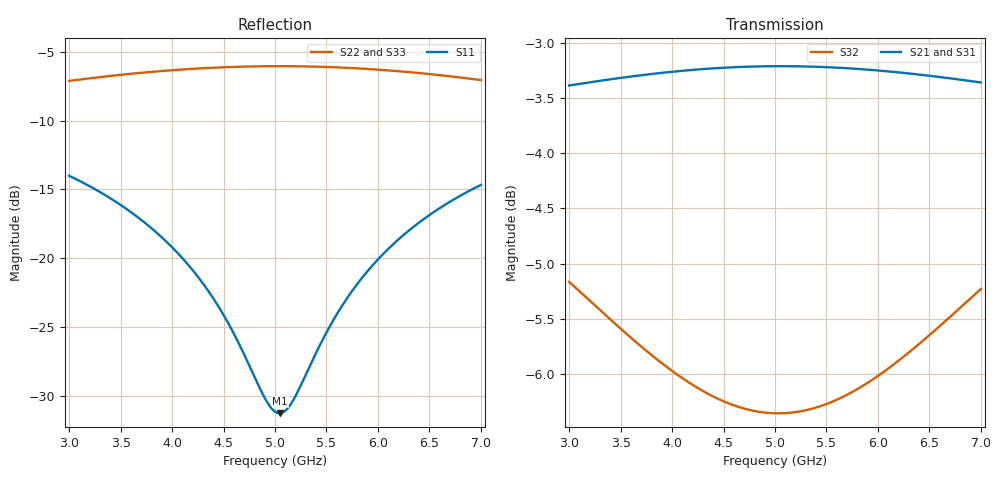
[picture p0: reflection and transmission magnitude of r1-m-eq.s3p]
! yapnr rf: r1-osh-m-m-eq, footprint re-simulated (optimization grid)
! spec sha256 3f8c16831ddcd4ca083011c373444b7bedade177b6ca474cbb31a5bdd8f7059d
! 3 ports renormalized to 50 ohm, e^(+jwt) convention
# GHz S RI R 50
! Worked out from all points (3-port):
!   161 points, 3 GHz to 7 GHz, reference 50 ohm
!   strongest paths, dB at 3 GHz, 4 GHz, 5 GHz, 6 GHz, 7 GHz:
!     S21: -3.4, -3.3, -3.2, -3.2, -3.4
!     S31: -3.4, -3.3, -3.2, -3.2, -3.4
!     S32: -5.2, -6.0, -6.4, -6.0, -5.2
!   lowest |S11| = -31.3 dB at 5.05 GHz (marker M1), VSWR 1.06, Z = 47.3 - j0.00716 ohm
!   |S11| at or under -10 dB: start of sweep to end of sweep
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3  -0.1356 0.1462  0.0269 -0.6766  0.0269 -0.6766
   0.027 -0.6767  -0.2167 0.3848  0.1014 -0.5423
   0.027 -0.6767  0.1014 -0.5423  -0.2167 0.3848
3.625  -0.0828 0.1188  -0.1957 -0.6552  -0.1957 -0.6552
       -0.1956 -0.6553  -0.1 0.459  -0.0276 -0.5185
       -0.1956 -0.6553  -0.0276 -0.5185  -0.1 0.459
4.125  -0.0509 0.0833  -0.3635 -0.5839  -0.3635 -0.5839
       -0.3635 -0.5841  0.0171 0.4864  -0.1107 -0.4855
       -0.3635 -0.5841  -0.1107 -0.4855  0.0171 0.4864
4.475  -0.0361 0.0534  -0.4673 -0.5073  -0.4673 -0.5073
       -0.4673 -0.5075  0.1049 0.4833  -0.1601 -0.4605
       -0.4673 -0.5075  -0.1601 -0.4605  0.1049 0.4833
5  -0.0272 0.00464  -0.5911 -0.3577  -0.5911 -0.3577
   -0.5911 -0.358  0.2324 0.4422  -0.227 -0.424
   -0.5911 -0.358  -0.227 -0.424  0.2324 0.4422
5.05  -0.0273 -7.56e-05  -0.6005 -0.3417  -0.6005 -0.3417
      -0.6006 -0.342  0.2438 0.4361  -0.2333 -0.4206
      -0.6006 -0.342  -0.2333 -0.4206  0.2438 0.4361
5.175  -0.028 -0.0118  -0.622 -0.3006  -0.622 -0.3006
       -0.6221 -0.3008  0.2711 0.4193  -0.2488 -0.412
       -0.6221 -0.3008  -0.2488 -0.412  0.2711 0.4193
5.625  -0.0379 -0.0524  -0.6748 -0.1426  -0.6748 -0.1426
       -0.675 -0.1428  0.3559 0.343  -0.3067 -0.3801
       -0.675 -0.1428  -0.3067 -0.3801  0.3559 0.343
5.95  -0.0518 -0.0789  -0.6877 -0.0234  -0.6877 -0.0234
      -0.6879 -0.0236  0.4007 0.2764  -0.3511 -0.3535
      -0.6879 -0.0236  -0.3511 -0.3535  0.4007 0.2764
7  -0.1247 -0.1363  -0.5879 0.3402  -0.5879 0.3402
   -0.5881 0.3402  0.4423 0.0469  -0.5026 -0.2174
   -0.5881 0.3402  -0.5026 -0.2174  0.4423 0.0469
